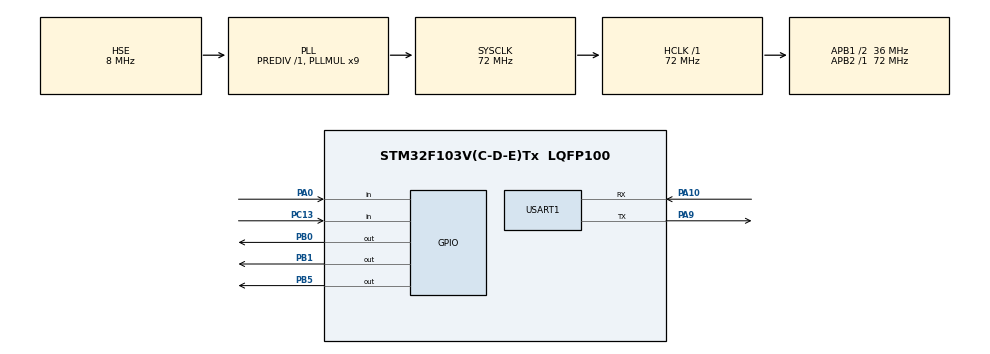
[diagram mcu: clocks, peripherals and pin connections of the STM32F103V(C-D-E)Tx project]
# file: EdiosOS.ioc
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Mcu.Family=STM32F1
Mcu.Name=STM32F103V(C-D-E)Tx
Mcu.Package=LQFP100
NVIC.PriorityGroup=NVIC_PRIORITYGROUP_4
OSC_IN.Mode=HSE-External-Oscillator
OSC_IN.Signal=RCC_OSC_IN
OSC_OUT.Mode=HSE-External-Oscillator
OSC_OUT.Signal=RCC_OSC_OUT
PA0-WKUP.Signal=GPIO_Input
PA10.Mode=Asynchronous
PA10.Signal=USART1_RX
PA13.Mode=Serial_Wire
PA13.Signal=SYS_JTMS-SWDIO
PA14.Mode=Serial_Wire
PA14.Signal=SYS_JTCK-SWCLK
PA9.Mode=Asynchronous
PA9.Signal=USART1_TX
PB0.Signal=GPIO_Output
PB1.Signal=GPIO_Output
PB5.Signal=GPIO_Output
PC13-TAMPER-RTC.Signal=GPIO_Input
PC14-OSC32_IN.Mode=LSE-External-Oscillator
PC14-OSC32_IN.Signal=RCC_OSC32_IN
PC15-OSC32_OUT.Mode=LSE-External-Oscillator
PC15-OSC32_OUT.Signal=RCC_OSC32_OUT
ProjectManager.HeapSize=0x200
ProjectManager.StackSize=0x400
ProjectManager.TargetToolchain=CMake
RCC.AHBFreq_Value=72000000
RCC.APB1CLKDivider=RCC_HCLK_DIV2
RCC.APB1Freq_Value=36000000
RCC.APB1TimFreq_Value=72000000
RCC.APB2Freq_Value=72000000
RCC.APB2TimFreq_Value=72000000
RCC.HCLKFreq_Value=72000000
RCC.PLLMUL=RCC_PLL_MUL9
RCC.PLLSourceVirtual=RCC_PLLSOURCE_HSE
RCC.SYSCLKFreq_VALUE=72000000
RCC.SYSCLKSource=RCC_SYSCLKSOURCE_PLLCLK
RCC.USBFreq_Value=72000000
USART1.VirtualMode=VM_ASYNC
board=custom

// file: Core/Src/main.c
/* USER CODE BEGIN Header */
/**
  ******************************************************************************
  * @file           : main.c
  * @brief          : Main program body
  ******************************************************************************
  * @attention
  *
  * Copyright (c) 2026 STMicroelectronics.
  * All rights reserved.
  *
  * This software is licensed under terms that can be found in the LICENSE file
  * in the root directory of this software component.
  * If no LICENSE file comes with this software, it is provided AS-IS.
  *
  ******************************************************************************
  */
/* USER CODE END Header */
#include "main.h"
#include "usart.h"
#include "gpio.h"

/* USER CODE BEGIN Includes */
#include "task.h"
#include <stdio.h>
#include "version.h"
#include "list.h"
#include "test.h"
#include "sync.h"
#include "timer.h"
/* USER CODE END Includes */

/* USER CODE BEGIN PV */
extern TCB_t * currentTCB; // 当前正在运行的任务
uint32_t currentTicks = 0; // 系统滴答数
extern List_t delayList;    // 任务延迟链表
extern List_t readyList;    // 就绪链表
Semaphore_t *semKey;        // 二值信号量
Semaphore_t *TimerTaskNotifySem; // 定时器任务通知信号量
Mutex_t *mutexKey;              // 互斥锁
EventGroup_t *eventGroupKey; // 事件组
TaskHandle_t timerTask; // 定时器任务句柄
/* USER CODE END PV */

extern void
prvPortStartFirstTask(void);
void SystemClock_Config(void);
/* USER CODE BEGIN PFP */
void hardfault_handler_c(uint32_t *stack)
{
    uint32_t r0  = stack[0];
    uint32_t r1  = stack[1];
    uint32_t r2  = stack[2];
    uint32_t r3  = stack[3];
    uint32_t r12 = stack[4];
    uint32_t lr  = stack[5];
    uint32_t pc  = stack[6];
    uint32_t psr = stack[7];

    printf("\n===== HARDFAULT =====\n");
    printf("R0  = 0x%08lX\n", r0);
    printf("R1  = 0x%08lX\n", r1);
    printf("R2  = 0x%08lX\n", r2);
    printf("R3  = 0x%08lX\n", r3);
    printf("R12 = 0x%08lX\n", r12);
    printf("LR  = 0x%08lX\n", lr);
    printf("PC  = 0x%08lX\n", pc);
    printf("PSR = 0x%08lX\n", psr);

    while (1);
}
/* USER CODE END PFP */

/* USER CODE BEGIN 0 */
int _write(int file, char *ptr, int len)
{
    HAL_UART_Transmit(&huart1, (uint8_t *)ptr, len, 1000);
    return len;
}
/* USER CODE END 0 */

int main(void)
{

  /* MCU Configuration--------------------------------------------------------*/

  /* Reset of all peripherals, Initializes the Flash interface and the Systick. */
  HAL_Init();

  /* Configure the system clock */
  SystemClock_Config();

  /* Initialize all configured peripherals */
  MX_GPIO_Init();
  MX_USART1_UART_Init();
  /* USER CODE BEGIN 2 */
  // 初始化关闭所有灯
  HAL_GPIO_WritePin(GPIOB, GPIO_PIN_0, GPIO_PIN_SET);
  HAL_GPIO_WritePin(GPIOB, GPIO_PIN_1, GPIO_PIN_SET);
  HAL_GPIO_WritePin(GPIOB, GPIO_PIN_5, GPIO_PIN_SET);
  NVIC_SetPriority(PendSV_IRQn, 0xFF);  // 最低
  NVIC_SetPriority(SysTick_IRQn, 0xFE); // 比它高一点
  // 初始化链表
  vListInit(&delayList);
  vListInit(&readyList);
  semKey = semaphoreBinaryInit(); // 初始化二值信号量
  TimerTaskNotifySem = semaphoreBinaryInit(); // 初始化定时器任务通知信号量
  mutexKey = mutexInit(); // 初始化互斥锁
  eventGroupKey = eventGroupInit(); // 初始化事件组
  TimerTaskInit(); // 初始化定时器任务
  // 创建任务
  taskInit(task_func1, 2, NULL, STACK_SIZE);
  taskInit(task_func2, 3, NULL, STACK_SIZE);
  taskInit(task_func3, 4, NULL, STACK_SIZE);
  taskInit(task_idle, 1, NULL, STACK_SIZE);
  timer_init();
  HAL_Delay(100);
  PrintVersion();                                 // 打印版本信息
  currentTCB = readyList.end.next->next->pvOwner; // 设置当前任务为第一个就绪的任务
  prvPortStartFirstTask();                        // 启动第一个任务
  /* USER CODE END 2 */

  /* Infinite loop */
  while (1)
  {

  }
}

void SystemClock_Config(void)
{
  RCC_OscInitTypeDef RCC_OscInitStruct = {0};
  RCC_ClkInitTypeDef RCC_ClkInitStruct = {0};

  /** Initializes the RCC Oscillators according to the specified parameters
  * in the RCC_OscInitTypeDef structure.
  */
  RCC_OscInitStruct.OscillatorType = RCC_OSCILLATORTYPE_HSE;
  RCC_OscInitStruct.HSEState = RCC_HSE_ON;
  RCC_OscInitStruct.HSEPredivValue = RCC_HSE_PREDIV_DIV1;
  RCC_OscInitStruct.HSIState = RCC_HSI_ON;
  RCC_OscInitStruct.PLL.PLLState = RCC_PLL_ON;
  RCC_OscInitStruct.PLL.PLLSource = RCC_PLLSOURCE_HSE;
  RCC_OscInitStruct.PLL.PLLMUL = RCC_PLL_MUL9;
  if (HAL_RCC_OscConfig(&RCC_OscInitStruct) != HAL_OK)
  {
    Error_Handler();
  }

  /** Initializes the CPU, AHB and APB buses clocks
  */
  RCC_ClkInitStruct.ClockType = RCC_CLOCKTYPE_HCLK|RCC_CLOCKTYPE_SYSCLK
                              |RCC_CLOCKTYPE_PCLK1|RCC_CLOCKTYPE_PCLK2;
  RCC_ClkInitStruct.SYSCLKSource = RCC_SYSCLKSOURCE_PLLCLK;
  RCC_ClkInitStruct.AHBCLKDivider = RCC_SYSCLK_DIV1;
  RCC_ClkInitStruct.APB1CLKDivider = RCC_HCLK_DIV2;
  RCC_ClkInitStruct.APB2CLKDivider = RCC_HCLK_DIV1;

  if (HAL_RCC_ClockConfig(&RCC_ClkInitStruct, FLASH_LATENCY_2) != HAL_OK)
  {
    Error_Handler();
  }
}

void Error_Handler(void)
{
  __disable_irq();
  while (1)
  {
  }
}
